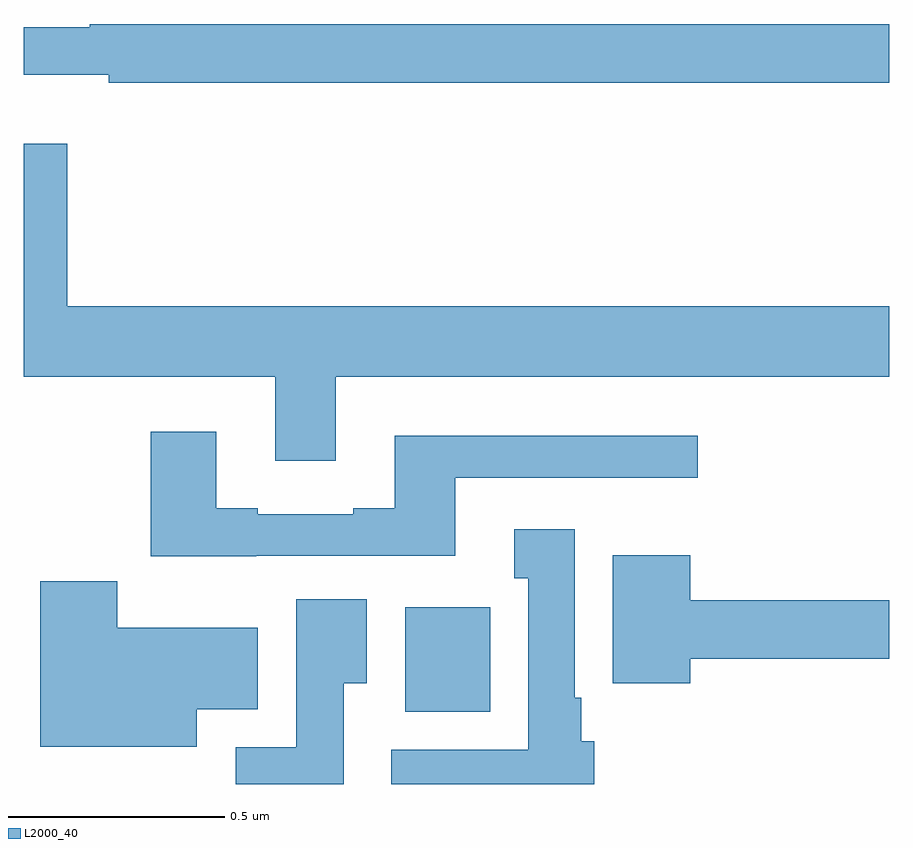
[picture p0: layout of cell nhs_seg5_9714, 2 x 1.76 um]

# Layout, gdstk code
import gdstk
lib = gdstk.Library(unit=1e-6, precision=1e-09)
def R(c, l, rs):  # rectangles x0, y0, x1, y1
    for r in rs: c.add(gdstk.rectangle(r[:2], r[2:], *l))
def P(c, l, *ps):  # polygons
    for p in ps: c.add(gdstk.Polygon(p, *l))
L2000_40 = (2000, 40)

nhs_seg5_9714 = lib.new_cell('nhs_seg5_9714')
R(nhs_seg5_9714, L2000_40, [(237.881,875.966,238.078,876.208)])
P(nhs_seg5_9714, L2000_40, [(239,877.556),(237.152,877.556),(237.152,877.549),(237,877.549),(237,877.439),(237.196,877.439),(237.196,877.42),(239,877.42)],
  [(237.721,876.74),(239,876.74),(239,876.904),(237.1,876.904),(237.1,877.279),(237,877.279),(237,876.74),(237.581,876.74),(237.581,876.546),(237.721,876.546)],
  [(237.537,876.327),(237.997,876.327),(237.997,876.507),(238.558,876.507),(238.558,876.604),(237.857,876.604),(237.857,876.436),(237.761,876.436),(237.761,876.423),(237.541,876.423),(237.541,876.436),(237.445,876.436),(237.445,876.613),(237.293,876.613),(237.293,876.326),(237.537,876.326)],
  [(238.318,875.898),(238.288,875.898),(238.288,875.998),(238.273,875.998),(238.273,876.388),(238.133,876.388),(238.133,876.275),(238.166,876.275),(238.166,875.878),(237.849,875.878),(237.849,875.799),(238.318,875.799)],
  [(238.54,876.088),(239,876.088),(239,876.224),(238.54,876.224),(238.54,876.328),(238.361,876.328),(238.361,876.032),(238.54,876.032)],
  [(237.4,875.972),(237.541,875.972),(237.541,876.16),(237.216,876.16),(237.216,876.268),(237.038,876.268),(237.038,875.885),(237.4,875.885)],
  [(237.739,876.032),(237.793,876.032),(237.793,876.226),(237.629,876.226),(237.629,875.884),(237.49,875.884),(237.49,875.799),(237.739,875.799)])

lib.write_gds('nhs_seg5_9714.gds')
